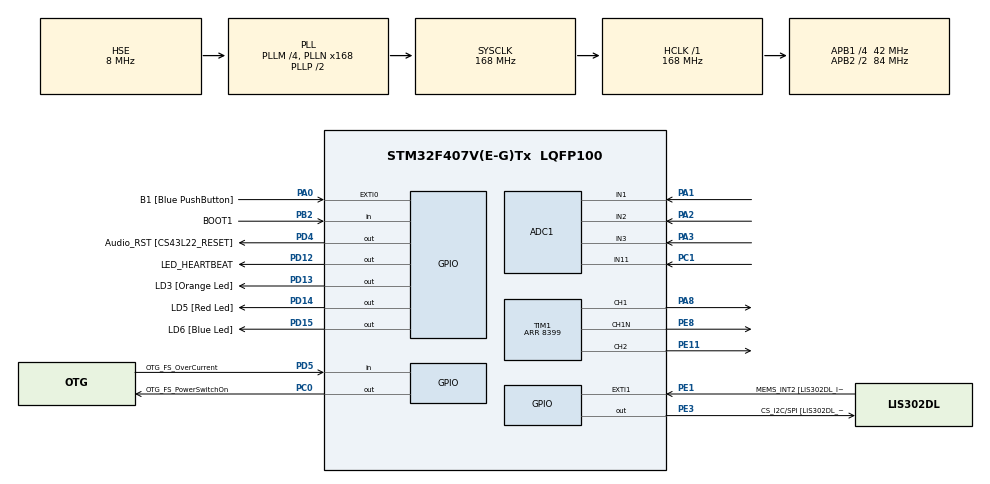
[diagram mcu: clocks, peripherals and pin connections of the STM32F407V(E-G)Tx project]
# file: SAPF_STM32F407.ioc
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ADC1.Channel-0\#ChannelRegularConversion=ADC_CHANNEL_1
ADC1.Channel-1\#ChannelRegularConversion=ADC_CHANNEL_2
ADC1.Channel-2\#ChannelRegularConversion=ADC_CHANNEL_3
ADC1.Channel-3\#ChannelRegularConversion=ADC_CHANNEL_11
ADC1.DMAContinuousRequests=ENABLE
ADC1.ExternalTrigConv=ADC_EXTERNALTRIGCONV_T1_CC2
ADC1.NbrOfConversion=4
ADC1.NbrOfConversionFlag=1
ADC1.Rank-0\#ChannelRegularConversion=1
ADC1.Rank-1\#ChannelRegularConversion=2
ADC1.Rank-2\#ChannelRegularConversion=3
ADC1.Rank-3\#ChannelRegularConversion=4
ADC1.SamplingTime-0\#ChannelRegularConversion=ADC_SAMPLETIME_84CYCLES
ADC1.SamplingTime-1\#ChannelRegularConversion=ADC_SAMPLETIME_84CYCLES
ADC1.SamplingTime-2\#ChannelRegularConversion=ADC_SAMPLETIME_84CYCLES
ADC1.SamplingTime-3\#ChannelRegularConversion=ADC_SAMPLETIME_84CYCLES
ADC1.ScanConvMode=ENABLE
ADC1.master=1
Dma.ADC1.0.Direction=DMA_PERIPH_TO_MEMORY
Dma.ADC1.0.FIFOMode=DMA_FIFOMODE_DISABLE
Dma.ADC1.0.Instance=DMA2_Stream0
Dma.ADC1.0.MemDataAlignment=DMA_MDATAALIGN_HALFWORD
Dma.ADC1.0.MemInc=DMA_MINC_ENABLE
Dma.ADC1.0.Mode=DMA_CIRCULAR
Dma.ADC1.0.PeriphDataAlignment=DMA_PDATAALIGN_HALFWORD
Dma.ADC1.0.PeriphInc=DMA_PINC_DISABLE
Dma.ADC1.0.Priority=DMA_PRIORITY_LOW
Dma.Request0=ADC1
Mcu.Family=STM32F4
Mcu.Name=STM32F407V(E-G)Tx
Mcu.Package=LQFP100
NVIC.DMA2_Stream0_IRQn=true\:0\:0\:false\:false\:true\:false\:true\:true
NVIC.PriorityGroup=NVIC_PRIORITYGROUP_0
NVIC.TIM1_UP_TIM10_IRQn=true\:0\:0\:false\:false\:true\:true\:true\:true
PA0-WKUP.GPIO_Label=B1 [Blue PushButton]
PA0-WKUP.Signal=GPXTI0
PA1.Signal=ADCx_IN1
PA10.GPIO_Label=OTG_FS_ID
PA10.GPIO_Mode=GPIO_MODE_AF_PP
PA10.GPIO_PuPd=GPIO_NOPULL
PA10.GPIO_Speed=GPIO_SPEED_FREQ_LOW
PA10.Signal=USB_OTG_FS_ID
PA11.GPIO_Label=OTG_FS_DM
PA11.GPIO_Mode=GPIO_MODE_AF_PP
PA11.GPIO_PuPd=GPIO_NOPULL
PA11.GPIO_Speed=GPIO_SPEED_FREQ_LOW
PA11.Signal=USB_OTG_FS_DM
PA12.GPIO_Label=OTG_FS_DP
PA12.GPIO_Mode=GPIO_MODE_AF_PP
PA12.GPIO_PuPd=GPIO_NOPULL
PA12.GPIO_Speed=GPIO_SPEED_FREQ_LOW
PA12.Signal=USB_OTG_FS_DP
PA13.GPIO_Label=SWDIO
PA13.Signal=SYS_JTMS-SWDIO
PA14.GPIO_Label=SWCLK
PA14.Signal=SYS_JTCK-SWCLK
PA2.Signal=ADCx_IN2
PA3.Signal=ADCx_IN3
PA4.GPIO_Label=I2S3_WS [CS43L22_LRCK]
PA4.GPIO_Mode=GPIO_MODE_AF_PP
PA4.GPIO_PuPd=GPIO_NOPULL
PA4.GPIO_Speed=GPIO_SPEED_FREQ_LOW
PA4.Signal=I2S3_WS
PA5.GPIO_Label=SPI1_SCK [LIS302DL_SCL/SPC]
PA5.GPIO_Mode=GPIO_MODE_AF_PP
PA5.GPIO_PuPd=GPIO_NOPULL
PA5.GPIO_Speed=GPIO_SPEED_FREQ_LOW
PA5.Signal=SPI1_SCK
PA6.GPIO_Label=SPI1_MISO [LIS302DL_SDO]
PA6.GPIO_Mode=GPIO_MODE_AF_PP
PA6.GPIO_PuPd=GPIO_NOPULL
PA6.GPIO_Speed=GPIO_SPEED_FREQ_LOW
PA6.Signal=SPI1_MISO
PA7.GPIO_Label=SPI1_MOSI [LIS302DL_SDA/SDI/SDO]
PA7.GPIO_Mode=GPIO_MODE_AF_PP
PA7.GPIO_PuPd=GPIO_NOPULL
PA7.GPIO_Speed=GPIO_SPEED_FREQ_LOW
PA7.Signal=SPI1_MOSI
PA8.Signal=S_TIM1_CH1
PA9.GPIO_Label=VBUS_FS
PA9.GPIO_Mode=GPIO_MODE_INPUT
PA9.GPIO_PuPd=GPIO_NOPULL
PA9.Signal=USB_OTG_FS_VBUS
PB10.GPIO_Label=CLK_IN [MP45DT02_CLK]
PB10.GPIO_Mode=GPIO_MODE_AF_PP
PB10.GPIO_PuPd=GPIO_NOPULL
PB10.GPIO_Speed=GPIO_SPEED_FREQ_LOW
PB10.Signal=I2S2_CK
PB2.GPIO_Label=BOOT1
PB2.GPIO_Mode=GPIO_MODE_INPUT
PB2.GPIO_PuPd=GPIO_NOPULL
PB2.Signal=GPIO_Input
PB3.GPIO_Label=SWO
PB3.Signal=SYS_JTDO-SWO
PB6.GPIO_Label=Audio_SCL [CS43L22_SCL]
PB6.GPIO_Mode=GPIO_MODE_AF_OD
PB6.GPIO_PuPd=GPIO_NOPULL
PB6.GPIO_Speed=GPIO_SPEED_FREQ_LOW
PB6.Signal=I2C1_SCL
PB9.GPIO_Label=Audio_SDA [CS43L22_SDA]
PB9.GPIO_Mode=GPIO_MODE_AF_OD
PB9.GPIO_PuPd=GPIO_NOPULL
PB9.GPIO_Speed=GPIO_SPEED_FREQ_LOW
PB9.Signal=I2C1_SDA
PC0.GPIO_Label=OTG_FS_PowerSwitchOn
PC0.GPIO_PuPd=GPIO_NOPULL
PC0.GPIO_Speed=GPIO_SPEED_FREQ_LOW
PC0.PinState=GPIO_PIN_SET
PC0.Signal=GPIO_Output
PC1.Signal=ADCx_IN11
PC10.GPIO_Label=I2S3_SCK [CS43L22_SCLK]
PC10.GPIO_Mode=GPIO_MODE_AF_PP
PC10.GPIO_PuPd=GPIO_NOPULL
PC10.GPIO_Speed=GPIO_SPEED_FREQ_LOW
PC10.Signal=I2S3_CK
PC12.GPIO_Label=I2S3_SD [CS43L22_SDIN]
PC12.GPIO_Mode=GPIO_MODE_AF_PP
PC12.GPIO_PuPd=GPIO_NOPULL
PC12.GPIO_Speed=GPIO_SPEED_FREQ_LOW
PC12.Signal=I2S3_SD
PC14-OSC32_IN.GPIO_Label=PC14-OSC32_IN
PC14-OSC32_IN.Signal=RCC_OSC32_IN
PC15-OSC32_OUT.GPIO_Label=PC15-OSC32_OUT
PC15-OSC32_OUT.Signal=RCC_OSC32_OUT
PC3.GPIO_Label=PDM_OUT [MP45DT02_DOUT]
PC3.GPIO_Mode=GPIO_MODE_AF_PP
PC3.GPIO_PuPd=GPIO_NOPULL
PC3.GPIO_Speed=GPIO_SPEED_FREQ_LOW
PC3.Signal=I2S2_SD
PC7.GPIO_Label=I2S3_MCK [CS43L22_MCLK]
PC7.GPIO_Mode=GPIO_MODE_AF_PP
PC7.GPIO_PuPd=GPIO_NOPULL
PC7.GPIO_Speed=GPIO_SPEED_FREQ_LOW
PC7.Signal=I2S3_MCK
PD12.GPIO_Label=LED_HEARTBEAT
PD12.GPIO_PuPd=GPIO_NOPULL
PD12.GPIO_Speed=GPIO_SPEED_FREQ_LOW
PD12.Signal=GPIO_Output
PD13.GPIO_Label=LD3 [Orange Led]
PD13.GPIO_PuPd=GPIO_NOPULL
PD13.GPIO_Speed=GPIO_SPEED_FREQ_LOW
PD13.Signal=GPIO_Output
PD14.GPIO_Label=LD5 [Red Led]
PD14.GPIO_PuPd=GPIO_NOPULL
PD14.GPIO_Speed=GPIO_SPEED_FREQ_LOW
PD14.Signal=GPIO_Output
PD15.GPIO_Label=LD6 [Blue Led]
PD15.GPIO_PuPd=GPIO_NOPULL
PD15.GPIO_Speed=GPIO_SPEED_FREQ_LOW
PD15.Signal=GPIO_Output
PD4.GPIO_Label=Audio_RST [CS43L22_RESET]
PD4.GPIO_PuPd=GPIO_NOPULL
PD4.GPIO_Speed=GPIO_SPEED_FREQ_LOW
PD4.Signal=GPIO_Output
PD5.GPIO_Label=OTG_FS_OverCurrent
PD5.GPIO_Mode=GPIO_MODE_INPUT
PD5.GPIO_PuPd=GPIO_NOPULL
PD5.Signal=GPIO_Input
PE1.GPIO_Label=MEMS_INT2 [LIS302DL_INT2]
PE1.GPIO_ModeDefaultEXTI=GPIO_MODE_EVT_RISING
PE1.GPIO_PuPd=GPIO_NOPULL
PE1.Signal=GPXTI1
PE11.Signal=S_TIM1_CH2
PE3.GPIO_Label=CS_I2C/SPI [LIS302DL_CS_I2C/SPI]
PE3.GPIO_PuPd=GPIO_NOPULL
PE3.GPIO_Speed=GPIO_SPEED_FREQ_LOW
PE3.Signal=GPIO_Output
PE8.Mode=PWM Generation1 CH1 CH1N
PE8.Signal=TIM1_CH1N
PH0-OSC_IN.GPIO_Label=PH0-OSC_IN
PH0-OSC_IN.Mode=HSE-External-Oscillator
PH0-OSC_IN.Signal=RCC_OSC_IN
PH1-OSC_OUT.GPIO_Label=PH1-OSC_OUT
PH1-OSC_OUT.Mode=HSE-External-Oscillator
PH1-OSC_OUT.Signal=RCC_OSC_OUT
ProjectManager.HeapSize=0x200
ProjectManager.StackSize=0x400
ProjectManager.TargetToolchain=STM32CubeIDE
RCC.48MHZClocksFreq_Value=48000000
RCC.AHBFreq_Value=168000000
RCC.APB1CLKDivider=RCC_HCLK_DIV4
RCC.APB1Freq_Value=42000000
RCC.APB1TimFreq_Value=84000000
RCC.APB2CLKDivider=RCC_HCLK_DIV2
RCC.APB2Freq_Value=84000000
RCC.APB2TimFreq_Value=168000000
RCC.CortexFreq_Value=168000000
RCC.HCLKFreq_Value=168000000
RCC.HSE_VALUE=8000000
RCC.HSI_VALUE=16000000
RCC.LSE_VALUE=32768
RCC.PLLM=4
RCC.PLLN=168
RCC.PLLQ=7
RCC.PLLSourceVirtual=RCC_PLLSOURCE_HSE
RCC.SYSCLKFreq_VALUE=168000000
RCC.SYSCLKSource=RCC_SYSCLKSOURCE_PLLCLK
RCC.VCOOutputFreq_Value=336000000
SH.ADCx_IN1.0=ADC1_IN1,IN1
SH.ADCx_IN11.0=ADC1_IN11,IN11
SH.ADCx_IN2.0=ADC1_IN2,IN2
SH.ADCx_IN3.0=ADC1_IN3,IN3
SH.S_TIM1_CH1.0=TIM1_CH1,PWM Generation1 CH1 CH1N
SH.S_TIM1_CH2.0=TIM1_CH2,PWM Generation2 CH2
TIM1.AutoReloadPreload=TIM_AUTORELOAD_PRELOAD_ENABLE
TIM1.Channel-PWM\ Generation1\ CH1\ CH1N=TIM_CHANNEL_1
TIM1.Channel-PWM\ Generation2\ CH2=TIM_CHANNEL_2
TIM1.DeadTime=84
TIM1.Period=8399
TIM1.Pulse-PWM\ Generation1\ CH1\ CH1N=4199
TIM1.Pulse-PWM\ Generation2\ CH2=4199
VP_TIM1_VS_ClockSourceINT.Mode=Internal
board=STM32F407G-DISC1

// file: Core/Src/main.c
/* USER CODE BEGIN Header */
/**
  ******************************************************************************
  * @file           : main.c
  * @brief          : Main program body
  ******************************************************************************
  * @attention
  *
  * Copyright (c) 2026 STMicroelectronics.
  * All rights reserved.
  *
  * This software is licensed under terms that can be found in the LICENSE file
  * in the root directory of this software component.
  * If no LICENSE file comes with this software, it is provided AS-IS.
  *
  ******************************************************************************
  */
/* USER CODE END Header */
#include "main.h"
#include "adc.h"
#include "dma.h"
#include "tim.h"
#include "gpio.h"

/* USER CODE BEGIN Includes */
/* APF algorithm modules:
 * apf_hystctrl.h → inner loop (hysteresis controller)
 * apf_refgen.h   → outer loop (reference current generator) */
#include "apf_hystctrl.h"
#include "apf_refgen.h"
/* USER CODE END Includes */

/* USER CODE BEGIN PV */
/* DMA transfer buffer — 4 ADC channels filled automatically
 * by DMA2 Stream0 at 20kHz, triggered by TIM1 CH2 (CCR2=4199).
 * Index map:
 *   [0] PA1 CH1  → I_APF  (ACS712-05B ±5A, bipolar)
 *   [1] PA2 CH2  → V_dc   (voltage divider 0-100V, unipolar)
 *   [2] PA3 CH3  → V_S    (voltage divider ±70V, bipolar)
 *   [3] PC1 CH11 → I_L1   (ACS712-05B ±5A, bipolar)
 * volatile: prevents compiler optimizing away ISR reads. */
volatile uint16_t adc_buf[4];

/* Debug variables — monitored via STM32CubeMonitor while
 * firmware runs. volatile ensures CubeMonitor always reads
 * the value written by the last ISR call, not a cached copy. */
volatile float debug_I_APF_ref = 0.0f;  /* A  reference current  */
volatile float debug_V_S       = 0.0f;  /* V  grid voltage        */
volatile float debug_I_L1      = 0.0f;  /* A  load current        */
volatile float debug_V_dc      = 0.0f;  /* V  DC link voltage     */
volatile float debug_P_avg     = 0.0f;  /* W  average active power*/
/* USER CODE END PV */

void SystemClock_Config(void);

int main(void)
{

  /* MCU Configuration--------------------------------------------------------*/

  /* Reset of all peripherals, Initializes the Flash interface and the Systick. */
  HAL_Init();

  /* Configure the system clock */
  SystemClock_Config();

  /* Initialize all configured peripherals */
  MX_GPIO_Init();
  MX_DMA_Init();
  MX_ADC1_Init();
  MX_TIM1_Init();
  /* USER CODE BEGIN 2 */
  /* Step 1: Initialize algorithm state before hardware starts.
   * Both modules reset persistent variables and set TIM1->CCR1
   * to CCR1_GATE_OFF (20 counts = 119ns) — safe gate-off state.
   * Must be first: CCR1 must be set before timer starts.       */
  APF_RefGen_Init();
  APF_HystCtrl_Init();

  /* Step 2: Arm ADC DMA before the timer fires first trigger.
   * DMA must be ready to accept transfers from the first CC2 event.
   * Cast to uint32_t* required by HAL API signature.
   * DMA transfer width remains Half Word as configured in CubeMX. */
  HAL_ADC_Start_DMA(&hadc1, (uint32_t *)adc_buf, 4);

  /* Step 3: Start PWM outputs before enabling the update interrupt.
   * Gate signals must be active before the ISR can write to CCR1.
   * CH1/CH1N drive the H-bridge (PA8 and PE8) with 500ns deadtime.
   * CH2 provides the fixed ADC trigger at CCR2=4199 (mid-period).  */
  HAL_TIM_PWM_Start(&htim1, TIM_CHANNEL_1);
  HAL_TIMEx_PWMN_Start(&htim1, TIM_CHANNEL_1);
  HAL_TIM_PWM_Start(&htim1, TIM_CHANNEL_2);

  /* Step 4: Enable TIM1 update interrupt last.
   * __HAL_TIM_ENABLE_IT is used instead of HAL_TIM_Base_Start_IT
   * because HAL_TIM_PWM_Start already set htim1.State = BUSY.
   * HAL_TIM_Base_Start_IT checks State == READY and silently
   * returns HAL_ERROR without enabling the interrupt.
   * This macro writes directly to TIM1 DIER register,
   * bypassing the HAL state machine. Safe and correct.          */
  __HAL_TIM_ENABLE_IT(&htim1, TIM_IT_UPDATE);
  /* USER CODE END 2 */

  /* Infinite loop */
  while (1)
  {

  }
}

void SystemClock_Config(void)
{
  RCC_OscInitTypeDef RCC_OscInitStruct = {0};
  RCC_ClkInitTypeDef RCC_ClkInitStruct = {0};

  /** Configure the main internal regulator output voltage
  */
  __HAL_RCC_PWR_CLK_ENABLE();
  __HAL_PWR_VOLTAGESCALING_CONFIG(PWR_REGULATOR_VOLTAGE_SCALE1);

  /** Initializes the RCC Oscillators according to the specified parameters
  * in the RCC_OscInitTypeDef structure.
  */
  RCC_OscInitStruct.OscillatorType = RCC_OSCILLATORTYPE_HSE;
  RCC_OscInitStruct.HSEState = RCC_HSE_ON;
  RCC_OscInitStruct.PLL.PLLState = RCC_PLL_ON;
  RCC_OscInitStruct.PLL.PLLSource = RCC_PLLSOURCE_HSE;
  RCC_OscInitStruct.PLL.PLLM = 4;
  RCC_OscInitStruct.PLL.PLLN = 168;
  RCC_OscInitStruct.PLL.PLLP = RCC_PLLP_DIV2;
  RCC_OscInitStruct.PLL.PLLQ = 7;
  if (HAL_RCC_OscConfig(&RCC_OscInitStruct) != HAL_OK)
  {
    Error_Handler();
  }

  /** Initializes the CPU, AHB and APB buses clocks
  */
  RCC_ClkInitStruct.ClockType = RCC_CLOCKTYPE_HCLK|RCC_CLOCKTYPE_SYSCLK
                              |RCC_CLOCKTYPE_PCLK1|RCC_CLOCKTYPE_PCLK2;
  RCC_ClkInitStruct.SYSCLKSource = RCC_SYSCLKSOURCE_PLLCLK;
  RCC_ClkInitStruct.AHBCLKDivider = RCC_SYSCLK_DIV1;
  RCC_ClkInitStruct.APB1CLKDivider = RCC_HCLK_DIV4;
  RCC_ClkInitStruct.APB2CLKDivider = RCC_HCLK_DIV2;

  if (HAL_RCC_ClockConfig(&RCC_ClkInitStruct, FLASH_LATENCY_5) != HAL_OK)
  {
    Error_Handler();
  }
}

/* USER CODE BEGIN 4 */
/**
 * HAL_TIM_PeriodElapsedCallback
 * ─────────────────────────────
 * TIM1 update interrupt service routine — executes every 50µs (20kHz).
 *
 * This is the main real-time control loop of the SAPF firmware.
 * It overrides the weak implementation in the HAL library.
 *
 * Execution sequence every 50µs:
 *   1. Scale raw ADC values from DMA buffer to physical units
 *   2. Run APF_RefGen outer loop → compute I_APF_ref
 *   3. Run APF_HystCtrl inner loop → drive H-bridge gate
 *   4. Update debug variables for CubeMonitor visibility
 *
 * Timing note:
 *   ADC trigger fires at CCR2=4199 (25µs into each 50µs period).
 *   DMA completes the 4-channel scan in 18.3µs.
 *   By the time this callback runs (at 50µs), adc_buf holds
 *   fresh values from the current cycle with 6.7µs margin.
 *
 * All arithmetic uses float — Cortex-M4F FPU handles single-
 * precision in one clock cycle at 168MHz.
 */
void HAL_TIM_PeriodElapsedCallback(TIM_HandleTypeDef *htim)
{
    /* Guard: TIM1 update interrupt shares IRQ with TIM10.
     * Return immediately if the event is not from TIM1.  */
    if (htim->Instance != TIM1)
    {
        return;
    }

    /* ── Step 1: Scale raw ADC values to physical units ──────────
     *
     * Bipolar scaling (I_APF, V_S, I_L1):
     *
     *   physical = ((raw - 2048.0f) / 2047.5f) × FULL_SCALE
     *   ADC mid-scale 2048 → 0 (zero current or zero voltage)
     *   ADC full-scale 4095 → +FULL_SCALE
     *   ADC zero       0    → -FULL_SCALE
     *
     * Unipolar scaling (V_dc):
     *   physical = (raw / 4095.0f) × FULL_SCALE
     *   ADC zero 0 → 0V, ADC full-scale 4095 → FULL_SCALE        */

    float I_APF = ((float)adc_buf[0] - 2048.0f)
                  / 2047.5f * I_APF_FULL_SCALE;  /* ±5A  */

    float V_dc  = ((float)adc_buf[1] / 4095.0f)
                  * V_DC_FULL_SCALE;              /* 0-100V */

    float V_S   = ((float)adc_buf[2] - 2048.0f)
                  / 2047.5f * V_S_FULL_SCALE;    /* ±70V */

    float I_L1  = ((float)adc_buf[3] - 2048.0f)
                  / 2047.5f * I_L1_FULL_SCALE;   /* ±5A  */

    /* ── Step 2: Compute reference compensation current ──────────
     * Seven-step instantaneous power theory algorithm.
     * Returns I_APF_ref in amps — the current the APF must inject
     * to cancel harmonic pollution from the nonlinear load.       */
    float I_APF_ref = APF_RefGen_Update(V_S, I_L1, V_dc);

    /* ── Step 3: Drive H-bridge gate ─────────────────────────────
     * Hysteresis controller compares I_APF_ref to actual I_APF.
     * Writes result directly to TIM1->CCR1.
     * gate=1 → CCR1=ARR  → Q1+Q4 ON (positive injection)
     * gate=0 → CCR1=20   → Q2+Q3 ON (negative injection)         */
    APF_HystCtrl_Update(I_APF_ref, I_APF);

    /* ── Step 4: Update debug variables ──────────────────────────
     * Updated after algorithm runs — CubeMonitor always sees a
     * consistent snapshot from the same ISR execution.            */
    debug_I_APF_ref = I_APF_ref;
    debug_V_S       = V_S;
    debug_I_L1      = I_L1;
    debug_V_dc      = V_dc;
    debug_P_avg     = APF_RefGen_GetPavg();
}
/* USER CODE END 4 */

void Error_Handler(void)
{
  __disable_irq();
  while (1)
  {
  }
}
